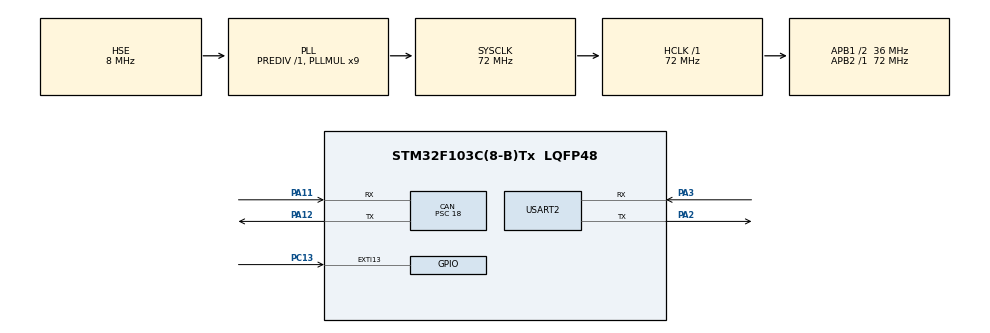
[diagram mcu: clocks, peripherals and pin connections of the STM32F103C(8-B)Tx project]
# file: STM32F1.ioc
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CAN.BS2=CAN_BS2_2TQ
CAN.CalculateBaudRate=500000
CAN.CalculateTimeBit=2000
CAN.CalculateTimeQuantum=500.0
CAN.Prescaler=18
Dma.Request0=USART2_RX
Dma.Request1=USART2_TX
Dma.USART2_RX.0.Direction=DMA_PERIPH_TO_MEMORY
Dma.USART2_RX.0.Instance=DMA1_Channel6
Dma.USART2_RX.0.MemDataAlignment=DMA_MDATAALIGN_BYTE
Dma.USART2_RX.0.MemInc=DMA_MINC_ENABLE
Dma.USART2_RX.0.Mode=DMA_NORMAL
Dma.USART2_RX.0.PeriphDataAlignment=DMA_PDATAALIGN_BYTE
Dma.USART2_RX.0.PeriphInc=DMA_PINC_DISABLE
Dma.USART2_RX.0.Priority=DMA_PRIORITY_LOW
Dma.USART2_TX.1.Direction=DMA_MEMORY_TO_PERIPH
Dma.USART2_TX.1.Instance=DMA1_Channel7
Dma.USART2_TX.1.MemDataAlignment=DMA_MDATAALIGN_BYTE
Dma.USART2_TX.1.MemInc=DMA_MINC_ENABLE
Dma.USART2_TX.1.Mode=DMA_NORMAL
Dma.USART2_TX.1.PeriphDataAlignment=DMA_PDATAALIGN_BYTE
Dma.USART2_TX.1.PeriphInc=DMA_PINC_DISABLE
Dma.USART2_TX.1.Priority=DMA_PRIORITY_LOW
Mcu.Family=STM32F1
Mcu.Name=STM32F103C(8-B)Tx
Mcu.Package=LQFP48
NVIC.DMA1_Channel6_IRQn=true\:0\:0\:false\:false\:true\:false\:true\:true
NVIC.DMA1_Channel7_IRQn=true\:0\:0\:false\:false\:true\:false\:true\:true
NVIC.EXTI15_10_IRQn=true\:0\:0\:false\:false\:true\:true\:true\:true
NVIC.PriorityGroup=NVIC_PRIORITYGROUP_4
NVIC.USART2_IRQn=true\:0\:0\:false\:false\:true\:true\:true\:true
NVIC.USB_LP_CAN1_RX0_IRQn=true\:0\:0\:false\:false\:true\:true\:true\:true
PA11.Mode=CAN_Activate
PA11.Signal=CAN_RX
PA12.Mode=CAN_Activate
PA12.Signal=CAN_TX
PA13.Mode=Serial_Wire
PA13.Signal=SYS_JTMS-SWDIO
PA14.Mode=Serial_Wire
PA14.Signal=SYS_JTCK-SWCLK
PA2.Mode=Asynchronous
PA2.Signal=USART2_TX
PA3.Mode=Asynchronous
PA3.Signal=USART2_RX
PC13-TAMPER-RTC.Signal=GPXTI13
PD0-OSC_IN.Mode=HSE-External-Oscillator
PD0-OSC_IN.Signal=RCC_OSC_IN
PD1-OSC_OUT.Mode=HSE-External-Oscillator
PD1-OSC_OUT.Signal=RCC_OSC_OUT
ProjectManager.HeapSize=0x200
ProjectManager.StackSize=0x400
ProjectManager.TargetToolchain=STM32CubeIDE
RCC.AHBFreq_Value=72000000
RCC.APB1CLKDivider=RCC_HCLK_DIV2
RCC.APB1Freq_Value=36000000
RCC.APB1TimFreq_Value=72000000
RCC.APB2Freq_Value=72000000
RCC.APB2TimFreq_Value=72000000
RCC.HCLKFreq_Value=72000000
RCC.PLLMUL=RCC_PLL_MUL9
RCC.PLLSourceVirtual=RCC_PLLSOURCE_HSE
RCC.SYSCLKFreq_VALUE=72000000
RCC.SYSCLKSource=RCC_SYSCLKSOURCE_PLLCLK
RCC.USBFreq_Value=72000000
USART2.VirtualMode=VM_ASYNC
board=custom

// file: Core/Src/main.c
/* USER CODE BEGIN Header */
/**
  ******************************************************************************
  * @file           : main.c
  * @brief          : Main program body
  ******************************************************************************
  * @attention
  *
  * Copyright (c) 2023 STMicroelectronics.
  * All rights reserved.
  *
  * This software is licensed under terms that can be found in the LICENSE file
  * in the root directory of this software component.
  * If no LICENSE file comes with this software, it is provided AS-IS.
  *
  ******************************************************************************
  */
/* USER CODE END Header */
#include "main.h"
#include "stdint.h"

CAN_HandleTypeDef hcan;

UART_HandleTypeDef huart2;
DMA_HandleTypeDef hdma_usart2_rx;
DMA_HandleTypeDef hdma_usart2_tx;

void SystemClock_Config(void);
static void MX_GPIO_Init(void);
static void MX_DMA_Init(void);
static void MX_CAN_Init(void);
static void MX_USART2_UART_Init(void);

//setup filter RX
void CAN_FILTER_SETUP(){
	CAN_FilterTypeDef canfilterconfig;

	  canfilterconfig.FilterActivation = CAN_FILTER_ENABLE;
	  canfilterconfig.FilterBank = 10;  // which filter bank to use from the assigned ones (0->13)
	  canfilterconfig.FilterFIFOAssignment = CAN_FILTER_FIFO0;
	  canfilterconfig.FilterIdHigh = 0;//0x013<<5;
	  canfilterconfig.FilterIdLow = 0;
	  canfilterconfig.FilterMaskIdHigh = 0;//0x013<<5;
	  canfilterconfig.FilterMaskIdLow = 0x0000;
	  canfilterconfig.FilterMode = CAN_FILTERMODE_IDMASK;
	  canfilterconfig.FilterScale = CAN_FILTERSCALE_32BIT;
	  canfilterconfig.SlaveStartFilterBank = 0;  // how many filters to assign to the CAN1 (master can)

	  HAL_CAN_ConfigFilter(&hcan, &canfilterconfig);

}

/* USER CODE BEGIN 0 */
// click ->sent frame : TxHeader (TxData) -> id: 0x446 : dia chi gui

// ngat nhan -> check FIFO0 ( chua cai RxHeader:Rx frame -> truefiler: dung id ->
				//?? Filter lấy từ cái Fillter nào  . CRC: nằm ở ID từng BOARD
// CAN DATA
CAN_TxHeaderTypeDef TxHeader;
CAN_RxHeaderTypeDef RxHeader;
uint8_t TxData[8];
uint8_t RxData[8];
uint32_t TxMailBox;
int datacheck=0;
//GPIO CALLBACK
void HAL_GPIO_EXTI_Callback(uint16_t GPIO_Pin)
{
	if(GPIO_Pin == GPIO_PIN_13)
	{
		TxData[0]=100;		//ms Delay
		TxData[1]=10;	//Loop rep
		HAL_CAN_AddTxMessage(&hcan,&TxHeader, TxData, &TxMailBox);

	}
}

//CAN Rx CALLBACK: fifo chưa messa ? sao khong check cai RxHeader ủa là vanac check
void HAL_CAN_RxFifo0MsgPendingCallback(CAN_HandleTypeDef *hcan)
{
	HAL_CAN_GetRxMessage(hcan,CAN_RX_FIFO0,&RxHeader, RxData);
	if(RxHeader.DLC==2) //check size
	{
		datacheck=1;
	}

	if(RxHeader.ExtId==0x00)//check dia chi
		;
}

/* USER CODE END 0 */

int main(void)
{

  /* MCU Configuration--------------------------------------------------------*/

  /* Reset of all peripherals, Initializes the Flash interface and the Systick. */
  HAL_Init();

  /* Configure the system clock */
  SystemClock_Config();

  /* Initialize all configured peripherals */
  MX_GPIO_Init();
  MX_DMA_Init();
  MX_CAN_Init();
  MX_USART2_UART_Init();
  /* USER CODE BEGIN 2 */
  //CAN:
    	  MX_CAN_Init();
    	  HAL_CAN_Start(&hcan);
    	  HAL_CAN_ActivateNotification(&hcan, CAN_IT_RX_FIFO0_MSG_PENDING);

    	  TxHeader.DLC=2; //data length
    	  TxHeader.IDE=CAN_ID_STD;		//standard 11bit addr
    	  TxHeader.RTR=CAN_RTR_DATA;	//data frame
    	  TxHeader.StdId=0x446;			//ID
    	  CAN_FILTER_SETUP();//filter
  /* USER CODE END 2 */

  /* Infinite loop */
  while (1)
  {
//	  	  if(datacheck)
//	  	  {
//	  		  //do something
//
//	  		  datacheck=0;
//	  	  }
	  {
			TxData[0]='A';		//ms Delay
			TxData[1]='B';	//Loop rep

			HAL_CAN_AddTxMessage(&hcan,&TxHeader, TxData, &TxMailBox);
	  }
	  HAL_Delay(1000);
  }
}

void SystemClock_Config(void)
{
  RCC_OscInitTypeDef RCC_OscInitStruct = {0};
  RCC_ClkInitTypeDef RCC_ClkInitStruct = {0};

  /** Initializes the RCC Oscillators according to the specified parameters
  * in the RCC_OscInitTypeDef structure.
  */
  RCC_OscInitStruct.OscillatorType = RCC_OSCILLATORTYPE_HSE;
  RCC_OscInitStruct.HSEState = RCC_HSE_ON;
  RCC_OscInitStruct.HSEPredivValue = RCC_HSE_PREDIV_DIV1;
  RCC_OscInitStruct.HSIState = RCC_HSI_ON;
  RCC_OscInitStruct.PLL.PLLState = RCC_PLL_ON;
  RCC_OscInitStruct.PLL.PLLSource = RCC_PLLSOURCE_HSE;
  RCC_OscInitStruct.PLL.PLLMUL = RCC_PLL_MUL9;
  if (HAL_RCC_OscConfig(&RCC_OscInitStruct) != HAL_OK)
  {
    Error_Handler();
  }

  /** Initializes the CPU, AHB and APB buses clocks
  */
  RCC_ClkInitStruct.ClockType = RCC_CLOCKTYPE_HCLK|RCC_CLOCKTYPE_SYSCLK
                              |RCC_CLOCKTYPE_PCLK1|RCC_CLOCKTYPE_PCLK2;
  RCC_ClkInitStruct.SYSCLKSource = RCC_SYSCLKSOURCE_PLLCLK;
  RCC_ClkInitStruct.AHBCLKDivider = RCC_SYSCLK_DIV1;
  RCC_ClkInitStruct.APB1CLKDivider = RCC_HCLK_DIV2;
  RCC_ClkInitStruct.APB2CLKDivider = RCC_HCLK_DIV1;

  if (HAL_RCC_ClockConfig(&RCC_ClkInitStruct, FLASH_LATENCY_2) != HAL_OK)
  {
    Error_Handler();
  }
}

static void MX_CAN_Init(void)
{

  hcan.Instance = CAN1;
  hcan.Init.Prescaler = 18;
  hcan.Init.Mode = CAN_MODE_NORMAL;
  hcan.Init.SyncJumpWidth = CAN_SJW_1TQ;
  hcan.Init.TimeSeg1 = CAN_BS1_1TQ;
  hcan.Init.TimeSeg2 = CAN_BS2_2TQ;
  hcan.Init.TimeTriggeredMode = DISABLE;
  hcan.Init.AutoBusOff = DISABLE;
  hcan.Init.AutoWakeUp = DISABLE;
  hcan.Init.AutoRetransmission = DISABLE;
  hcan.Init.ReceiveFifoLocked = DISABLE;
  hcan.Init.TransmitFifoPriority = DISABLE;
  if (HAL_CAN_Init(&hcan) != HAL_OK)
  {
    Error_Handler();
  }

}

static void MX_USART2_UART_Init(void)
{

  huart2.Instance = USART2;
  huart2.Init.BaudRate = 115200;
  huart2.Init.WordLength = UART_WORDLENGTH_8B;
  huart2.Init.StopBits = UART_STOPBITS_1;
  huart2.Init.Parity = UART_PARITY_NONE;
  huart2.Init.Mode = UART_MODE_TX_RX;
  huart2.Init.HwFlowCtl = UART_HWCONTROL_NONE;
  huart2.Init.OverSampling = UART_OVERSAMPLING_16;
  if (HAL_UART_Init(&huart2) != HAL_OK)
  {
    Error_Handler();
  }

}

static void MX_DMA_Init(void)
{

  /* DMA controller clock enable */
  __HAL_RCC_DMA1_CLK_ENABLE();

  /* DMA interrupt init */
  /* DMA1_Channel6_IRQn interrupt configuration */
  HAL_NVIC_SetPriority(DMA1_Channel6_IRQn, 0, 0);
  HAL_NVIC_EnableIRQ(DMA1_Channel6_IRQn);
  /* DMA1_Channel7_IRQn interrupt configuration */
  HAL_NVIC_SetPriority(DMA1_Channel7_IRQn, 0, 0);
  HAL_NVIC_EnableIRQ(DMA1_Channel7_IRQn);

}

static void MX_GPIO_Init(void)
{
  GPIO_InitTypeDef GPIO_InitStruct = {0};

  /* GPIO Ports Clock Enable */
  __HAL_RCC_GPIOC_CLK_ENABLE();
  __HAL_RCC_GPIOD_CLK_ENABLE();
  __HAL_RCC_GPIOA_CLK_ENABLE();

  /*Configure GPIO pin : PC13 */
  GPIO_InitStruct.Pin = GPIO_PIN_13;
  GPIO_InitStruct.Mode = GPIO_MODE_IT_RISING;
  GPIO_InitStruct.Pull = GPIO_NOPULL;
  HAL_GPIO_Init(GPIOC, &GPIO_InitStruct);

  /* EXTI interrupt init*/
  HAL_NVIC_SetPriority(EXTI15_10_IRQn, 0, 0);
  HAL_NVIC_EnableIRQ(EXTI15_10_IRQn);

}

void Error_Handler(void)
{
  __disable_irq();
  while (1)
  {
  }
}
